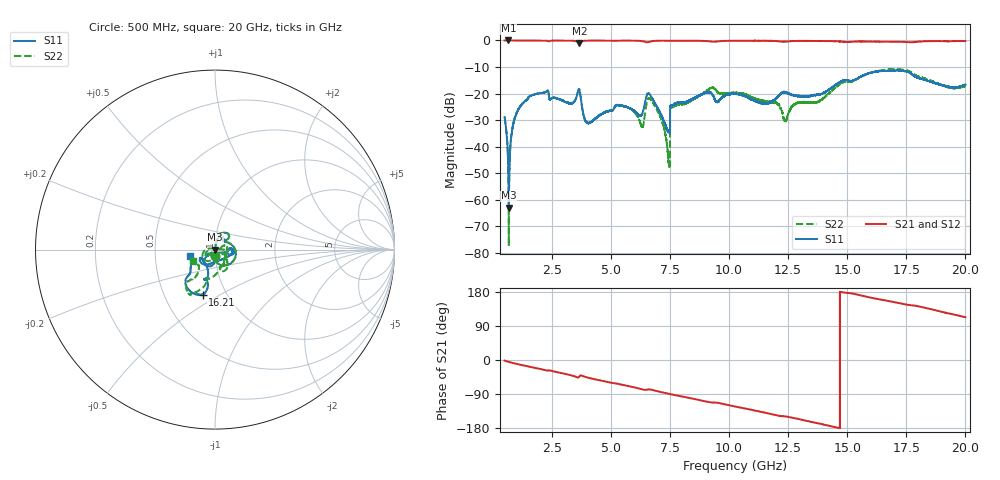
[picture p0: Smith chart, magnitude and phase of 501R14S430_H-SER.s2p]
!{501R14S430}
!Johanson Technology Inc.
!www.johansontechnology.com
!Test Board Conditions:
!Substrate Type  RO4350B
!Substrate Thickness  20 mil
!Substrate Dk  3.66
!TL Type: GCPW
!TL Trace Width  36 mil
!TL Gap  12 mil
!Electrode orientation  Horizontal
!DUT TOPOLOGY	SERIES
!Mounting Pad LxW  26x36 mil
! Created Wed Mar 11 16:07:48 2020
# mhz S ma R 50
! 2 Port Network Data from SP1.SP block
! freq  magS11  angS11  magS21  angS21  magS12  angS12  magS22  angS22
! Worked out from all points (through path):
!   19501 points, 500 MHz to 20 GHz, reference 50 ohm
!   highest |S21| = 0.00 dB at 658 MHz (marker M1); lowest = -1.1 dB at 3.668 GHz (marker M2)
!   group delay of S21, straight-line fit = 34.2 ps
!   lowest |S11| = -63.1 dB at 681 MHz (marker M3), VSWR 1.00, Z = 50.1 + j0.00887 ohm
!   |S11| at or under -10 dB: start of sweep to end of sweep
!   |S22| runs from -77.5 to -10.8 dB; largest |S21 - S12| = 0.017
!   S11 on the Smith chart (normalised r, x): 500 MHz: 1.00, -0.07; 16.21 GHz: 0.77, -0.42; 20 GHz: 0.75, -0.06
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500  0.03588 -89.7  0.9979 -1.7  0.997 -1.6  0.03587 -90.6
658  0.00361 -84.0  0.9999 -4.7  0.998 -4.7  0.003611 -93.3
681  0.0007038 7.2  0.9988 -5.1  0.9985 -5.1  0.0004826 94.5
951  0.03621 79.7  0.9972 -9.4  0.9969 -9.4  0.03675 80.4
1514  0.08605 72.6  0.9943 -17.2  0.994 -17.2  0.0866 72.7
3668  0.1179 -39.2  0.8774 -42.9  0.8778 -42.9  0.1183 -38.8
3750  0.06733 -87.1  0.9481 -40.9  0.9479 -41.0  0.06779 -85.9
4046  0.0276 -131.9  0.9915 -46.9  0.9913 -46.9  0.028 -124.3
5313  0.06067 -148.1  0.9905 -63.2  0.99 -63.3  0.06091 -149.0
6312  0.04019 -106.2  0.973 -77.3  0.9748 -77.3  0.02346 -141.8
6594  0.1001 -117.6  0.9333 -77.6  0.9335 -77.6  0.0814 -134.0
7000  0.05105 -139.8  0.9865 -82.9  0.9874 -82.8  0.04485 176.8
7403  0.02014 -98.2  0.99 -88.5  0.9903 -88.5  0.008097 139.1
7598  0.06062 -13.7  0.9883 -91.2  0.9895 -91.2  0.05654 -1.8
9256  0.1009 -15.6  0.9527 -112.1  0.9517 -112.1  0.1274 -62.2
10250  0.09894 -5.1  0.9855 -122.7  0.9848 -122.6  0.1035 -61.6
12020  0.08384 -109.5  0.9725 -146.1  0.9733 -146.1  0.06612 -26.0
12372  0.1052 -139.2  0.9503 -148.9  0.9514 -148.9  0.03035 -3.9
13500  0.09131 -134.1  0.9775 -163.6  0.9793 -163.7  0.0676 -20.0
16212  0.2608 -105.4  0.9484 161.8  0.9467 161.8  0.26 -114.3
16750  0.2687 -112.0  0.9487 155.6  0.9438 155.2  0.2843 -118.2
20000  0.1462 -165.2  0.9744 112.8  0.9745 112.9  0.1391 -153.5
